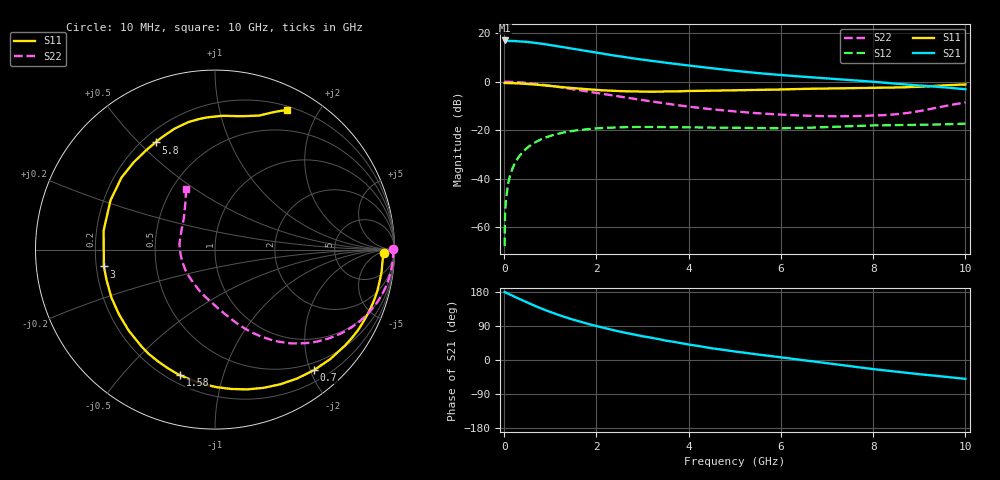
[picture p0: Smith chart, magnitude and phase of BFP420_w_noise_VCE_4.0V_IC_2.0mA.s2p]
! Infineon Technologies  Discrete & RF Semiconductors
! BFP420
! VCE =  4.0 V,  IC =  2.0 mA
! Common Emitter S-Parameters:  Jan 2016
# GHz  S  MA  R  50
!  f  S11  S21  S12  S22
! GHz  MAG  ANG  MAG  ANG  MAG  ANG  MAG  ANG
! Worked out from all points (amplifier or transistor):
!   233 points, 10 MHz to 10 GHz, reference 50 ohm
!   highest |S21| = 17.0 dB at 10 MHz (marker M1)
!   |S21| within 3 dB of that: start of sweep to 1.353 GHz
!   unconditionally stable (mu >= 1): 3.923 GHz to end of sweep
!   at 200 MHz: K = 0.06, MSG = 25.9 dB, |S12| = -35.0 dB
!   at 1.74 GHz: K = 0.35, MSG = 16.3 dB, |S12| = -19.7 dB
!   at 10 GHz: K = 1.22, MAG = 4.3 dB, |S12| = -17.3 dB
!   lowest NFmin = 0.53 dB at 900 MHz
!   S11 on the Smith chart (normalised r, x): 10 MHz: 31, -9; 700 MHz: 0.37, -2.06; 1.58 GHz: 0.25, -0.73; 3 GHz: 0.23, -0.07; 5.8 GHz: 0.25, +0.56; 10 GHz: 0.24, +1.62
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0.01  0.9424 -1.0  7.109 179.2  0.0004 77.8  0.993 0.1
0.015  0.9404 -1.2  7.004 179.1  0.0011 73.8  0.9932 -0.3
0.02  0.9385 -1.5  6.899 179.0  0.0019 72.9  0.9934 -0.7
0.035  0.9368 -2.6  6.912 178.0  0.0031 80.0  0.9933 -1.3
0.135  0.9345 -9.9  6.954 172.3  0.0121 82.2  0.9905 -5.3
0.36  0.9181 -26.4  6.809 159.5  0.0316 74.4  0.9675 -14.0
0.52  0.8961 -37.9  6.599 150.6  0.0445 68.0  0.9394 -19.9
0.7  0.8689 -50.7  6.317 141.1  0.0578 61.3  0.9005 -26.3
0.9  0.8338 -64.2  5.925 131.3  0.0703 54.2  0.8511 -32.7
1.1  0.7993 -77.0  5.528 122.4  0.0809 47.9  0.7993 -38.5
1.58  0.7268 -105.4  4.629 103.4  0.0989 34.7  0.6778 -50.4
1.68  0.713 -110.8  4.465 99.9  0.1017 32.3  0.6546 -52.5
2.24  0.6553 -138.5  3.646 82.4  0.1118 21.1  0.5393 -62.8
2.6  0.636 -155.2  3.232 72.5  0.115 15.0  0.4755 -68.8
3  0.6262 -171.4  2.85 62.7  0.1162 9.6  0.4159 -74.8
3.4  0.6237 173.9  2.536 53.8  0.1158 5.2  0.3653 -80.9
4.5  0.6575 142.5  1.899 30.9  0.1133 -3.4  0.2696 -101.5
5.1  0.6655 131.1  1.642 21.0  0.1111 -5.9  0.2389 -113.3
5.8  0.6829 119.0  1.424 10.1  0.1094 -7.3  0.2132 -128.8
6.8  0.7186 104.4  1.206 -5.3  0.1136 -8.3  0.1953 -153.8
8.4  0.754 80.4  0.925 -29.6  0.1264 -15.0  0.2086 155.9
10  0.8764 62.7  0.698 -49.8  0.1358 -20.0  0.3739 115.5
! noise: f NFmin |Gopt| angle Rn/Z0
0.9  0.53  0.47  33  0.22
1.8  1.03  0.29  77  0.17
2.4  1.13  0.31  102  0.16
3  1.32  0.31  136  0.12
4  1.57  0.37  -168  0.1
5  1.96  0.42  -129  0.28
6  2.72  0.51  -111  0.37
